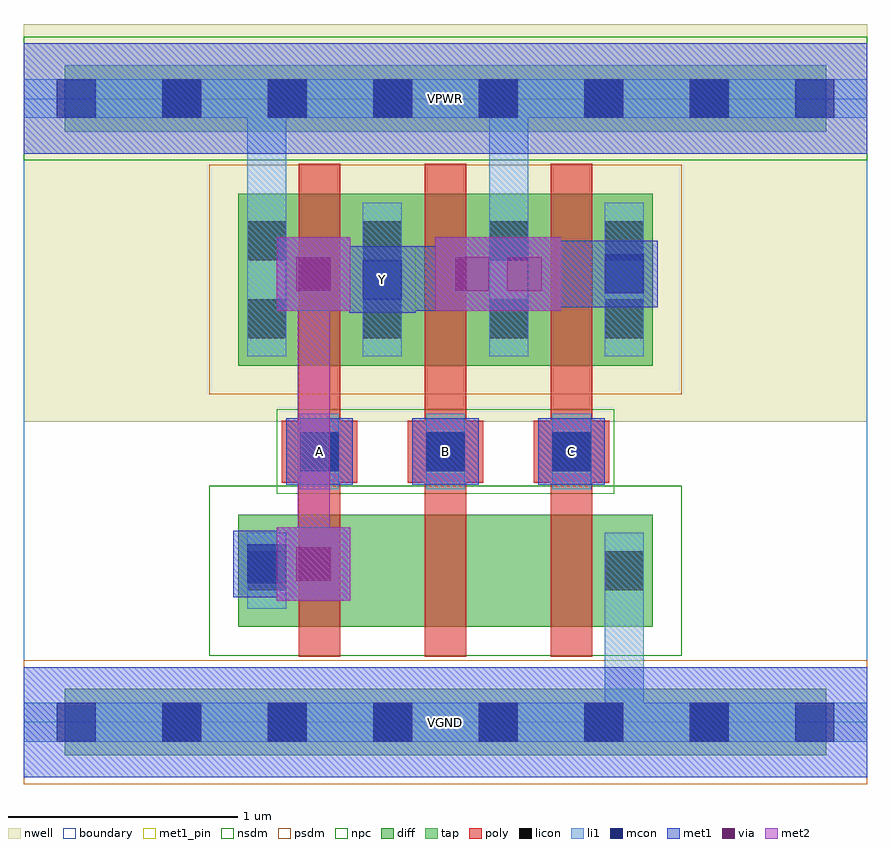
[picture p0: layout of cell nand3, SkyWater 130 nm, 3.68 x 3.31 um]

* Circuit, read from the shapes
.subckt nand3 A B C VGND VPWR Y
XM1 n1 A Y VGND sky130_fd_pr__nfet_01v8 w=0.49 l=0.18
XM2 n2 B n1 VGND sky130_fd_pr__nfet_01v8 w=0.49 l=0.18
XM3 VGND C n2 VGND sky130_fd_pr__nfet_01v8 w=0.49 l=0.18
XM4 Y A VPWR VPWR sky130_fd_pr__pfet_01v8 w=0.75 l=0.18
XM5 VPWR B Y VPWR sky130_fd_pr__pfet_01v8 w=0.75 l=0.18
XM6 Y C VPWR VPWR sky130_fd_pr__pfet_01v8 w=0.75 l=0.18
.ends

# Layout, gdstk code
import gdstk
lib = gdstk.Library(unit=1e-6, precision=1e-09)
def R(c, l, rs):  # rectangles x0, y0, x1, y1
    for r in rs: c.add(gdstk.rectangle(r[:2], r[2:], *l))
def A(c, l, x, y, w, h, nx, ny, dx, dy):  # array of equal rectangles
    R(c, l, [(x+i*dx, y+j*dy, x+i*dx+w, y+j*dy+h) for i in range(nx) for j in range(ny)])
nwell = (64, 20)
diff = (65, 20)
tap = (65, 44)
poly = (66, 20)
licon = (66, 44)
li1 = (67, 20)
mcon = (67, 44)
met1_pin = (68, 16)
met1 = (68, 20)
via = (68, 44)
met2 = (69, 20)
nsdm = (93, 44)
psdm = (94, 20)
npc = (95, 20)
boundary = (235, 4)

nand3 = lib.new_cell('nand3')
R(nand3, nwell, [(0,1.31,3.68,3.045)])
R(nand3, diff, [(0.935,0.415,2.745,0.905), (0.935,1.555,2.745,2.305)])
R(nand3, tap, [(0.18,-0.145,3.5,0.145), (0.18,2.575,3.5,2.865)])
A(nand3, poly, 1.2, 0.285, 0.18, 2.15, 3, 1, 0.55, 0)
A(nand3, poly, 1.125, 1.045, 0.33, 0.27, 3, 1, 0.55, 0)
A(nand3, licon, 0.605, -0.085, 0.17, 0.17, 6, 2, 0.46, 2.72)
A(nand3, licon, 1.205, 1.095, 0.17, 0.17, 3, 1, 0.55, 0)
R(nand3, licon, [(0.975,0.575,1.145,0.745), (2.535,0.575,2.705,0.745), (0.975,1.675,1.145,1.845), (1.48,1.675,1.65,1.845), (2.03,1.675,2.2,1.845), (2.535,1.675,2.705,1.845), (0.975,2.015,1.145,2.185), (1.48,2.015,1.65,2.185), (2.03,2.015,2.2,2.185), (2.535,2.015,2.705,2.185)])
A(nand3, li1, 1.205, 1.015, 0.17, 0.33, 3, 1, 0.55, 0)
R(nand3, li1, [(0,-0.085,3.68,0.085), (2.535,-0.085,2.705,0.825), (0.975,0.495,1.145,0.825), (2.535,0.495,2.705,0.825), (0.975,1.595,1.145,2.265), (0.975,1.595,1.145,2.805), (1.48,1.595,1.65,2.265), (2.03,1.595,2.2,2.265), (2.03,1.595,2.2,2.805), (2.535,1.595,2.705,2.265), (0,2.635,3.68,2.805)])
A(nand3, mcon, 0.145, -0.085, 0.17, 0.17, 8, 2, 0.46, 2.72)
A(nand3, mcon, 1.205, 1.095, 0.17, 0.17, 3, 1, 0.55, 0)
R(nand3, mcon, [(0.975,0.605,1.145,0.775), (1.48,1.845,1.65,2.015), (2.535,1.87,2.705,2.04)])
A(nand3, met1_pin, 1.145, 1.035, 0.29, 0.29, 3, 1, 0.55, 0)
R(nand3, met1_pin, [(0,-0.24,3.68,0.24), (1.42,1.785,1.71,2.075), (0,2.48,3.68,2.96)])
A(nand3, met1, 1.145, 1.035, 0.29, 0.29, 3, 1, 0.55, 0)
R(nand3, met1, [(0,-0.24,3.68,0.24), (1.105,0.53,1.425,0.85), (0.915,0.545,1.205,0.835), (0.99,0.62,1.22,0.76), (1.08,0.62,1.335,0.76), (1.42,1.785,1.71,2.075), (1.105,1.795,1.425,2.115), (1.71,1.795,1.795,2.075), (1.795,1.795,2.115,2.115), (2.025,1.795,2.345,2.115), (2.345,1.81,2.475,2.1), (2.475,1.81,2.765,2.1), (1.195,1.885,1.68,2.025), (1.54,1.885,1.68,2.025), (1.54,1.885,2.025,2.025), (2.115,1.885,2.6,2.025), (2.46,1.885,2.69,2.025), (0,2.48,3.68,2.96)])
R(nand3, via, [(1.19,0.615,1.34,0.765), (1.19,1.88,1.34,2.03), (1.88,1.88,2.03,2.03), (2.11,1.88,2.26,2.03)])
R(nand3, met2, [(1.105,0.53,1.425,0.85), (1.195,0.62,1.335,2.025), (1.105,1.795,1.425,2.115), (1.795,1.795,2.115,2.115), (2.025,1.795,2.345,2.115), (1.885,1.885,2.255,2.025)])
R(nand3, nsdm, [(0.81,0.29,2.87,1.03), (0,2.45,3.68,2.99)])
R(nand3, psdm, [(0,-0.27,3.68,0.27), (0.81,1.43,2.87,2.43)])
R(nand3, npc, [(1.105,0.995,2.575,1.365)])
R(nand3, boundary, [(0,0,3.68,2.72)])
nand3.add(gdstk.Label('A', (1.29,1.18), layer=68, texttype=5))
nand3.add(gdstk.Label('B', (1.84,1.18), layer=68, texttype=5))
nand3.add(gdstk.Label('C', (2.39,1.18), layer=68, texttype=5))
nand3.add(gdstk.Label('Y', (1.565,1.93), layer=68, texttype=5))
nand3.add(gdstk.Label('VPWR', (1.84,2.72), layer=68, texttype=5))
nand3.add(gdstk.Label('VGND', (1.84,0), layer=68, texttype=5))
nand3.add(gdstk.Label('A', (1.29,1.18), layer=68, texttype=16))
nand3.add(gdstk.Label('B', (1.84,1.18), layer=68, texttype=16))
nand3.add(gdstk.Label('C', (2.39,1.18), layer=68, texttype=16))
nand3.add(gdstk.Label('Y', (1.565,1.93), layer=68, texttype=16))
nand3.add(gdstk.Label('VPWR', (1.84,2.72), layer=68, texttype=16))
nand3.add(gdstk.Label('VGND', (1.84,0), layer=68, texttype=16))

lib.write_gds('nand3.gds')
